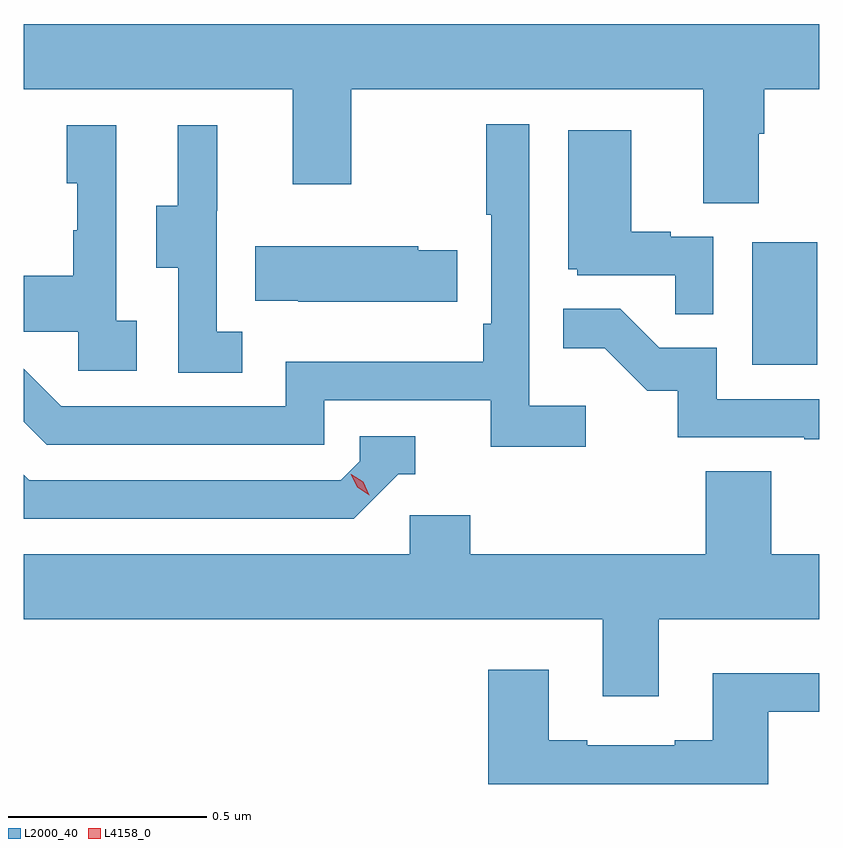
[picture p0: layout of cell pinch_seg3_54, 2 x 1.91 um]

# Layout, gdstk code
import gdstk
lib = gdstk.Library(unit=1e-6, precision=1e-09)
def R(c, l, rs):  # rectangles x0, y0, x1, y1
    for r in rs: c.add(gdstk.rectangle(r[:2], r[2:], *l))
def P(c, l, *ps):  # polygons
    for p in ps: c.add(gdstk.Polygon(p, *l))
L2000_40 = (2000, 40)
L4158_0 = (4158, 0)

pinch_seg3_54 = lib.new_cell('pinch_seg3_54')
R(pinch_seg3_54, L2000_40, [(1069.568,738.852,1069.732,739.159)])
P(pinch_seg3_54, L2000_40, [(1067.737,739.544),(1068.413,739.544),(1068.413,739.305),(1068.561,739.305),(1068.561,739.544),(1069.445,739.544),(1069.445,739.258),(1069.585,739.258),(1069.585,739.432),(1069.598,739.432),(1069.598,739.544),(1069.737,739.544),(1069.737,739.708),(1067.737,739.708)],
  [(1069.15,738.748),(1069.008,738.748),(1069.008,739.456),(1068.9,739.456),(1068.9,739.228),(1068.912,739.228),(1068.912,738.955),(1068.892,738.955),(1068.892,738.859),(1068.396,738.859),(1068.396,738.747),(1067.832,738.747),(1067.737,738.842),(1067.737,738.709),(1067.795,738.651),(1068.492,738.651),(1068.492,738.762),(1068.911,738.762),(1068.911,738.646),(1069.15,738.646)],
  [(1068.286,738.935),(1068.222,738.935),(1068.222,739.239),(1068.224,739.239),(1068.224,739.453),(1068.125,739.453),(1068.125,739.251),(1068.071,739.251),(1068.071,739.096),(1068.126,739.096),(1068.126,738.832),(1068.286,738.832)],
  [(1068.022,738.962),(1067.97,738.962),(1067.97,739.453),(1067.846,739.453),(1067.846,739.308),(1067.872,739.308),(1067.872,739.19),(1067.862,739.19),(1067.862,739.075),(1067.737,739.075),(1067.737,738.935),(1067.874,738.935),(1067.874,738.837),(1068.022,738.837)],
  [(1069.47,739.173),(1069.364,739.173),(1069.364,739.186),(1069.264,739.186),(1069.264,739.441),(1069.106,739.441),(1069.106,739.092),(1069.128,739.092),(1069.128,739.077),(1069.375,739.077),(1069.375,738.979),(1069.47,738.979)],
  [(1068.827,739.14),(1068.729,739.14),(1068.729,739.15),(1068.319,739.15),(1068.319,739.013),(1068.427,739.013),(1068.427,739.01),(1068.827,739.01)],
  [(1069.737,738.765),(1069.479,738.765),(1069.479,738.894),(1069.335,738.894),(1069.237,738.992),(1069.093,738.992),(1069.093,738.893),(1069.197,738.893),(1069.304,738.786),(1069.381,738.786),(1069.381,738.669),(1069.699,738.669),(1069.699,738.664),(1069.737,738.664)],
  [(1068.678,738.576),(1068.721,738.576),(1068.721,738.672),(1068.582,738.672),(1068.582,738.609),(1068.534,738.561),(1067.751,738.561),(1067.737,738.575),(1067.737,738.465),(1068.567,738.465)],
  [(1069.333,738.212),(1069.737,738.212),(1069.737,738.376),(1069.616,738.376),(1069.616,738.584),(1069.451,738.584),(1069.451,738.376),(1068.86,738.376),(1068.86,738.474),(1068.708,738.474),(1068.708,738.376),(1067.737,738.376),(1067.737,738.212),(1069.193,738.212),(1069.193,738.018),(1069.333,738.018)],
  [(1069.609,737.979),(1069.737,737.979),(1069.737,738.076),(1069.469,738.076),(1069.469,737.908),(1069.373,737.908),(1069.373,737.895),(1069.153,737.895),(1069.153,737.908),(1069.057,737.908),(1069.057,738.085),(1068.905,738.085),(1068.905,737.798),(1069.609,737.798)])
P(pinch_seg3_54, L4158_0, [(1068.606,738.524),(1068.576,738.544),(1068.559,738.576),(1068.559,738.577),(1068.56,738.577),(1068.59,738.557),(1068.606,738.524),(1068.606,738.524)])

lib.write_gds('pinch_seg3_54.gds')
